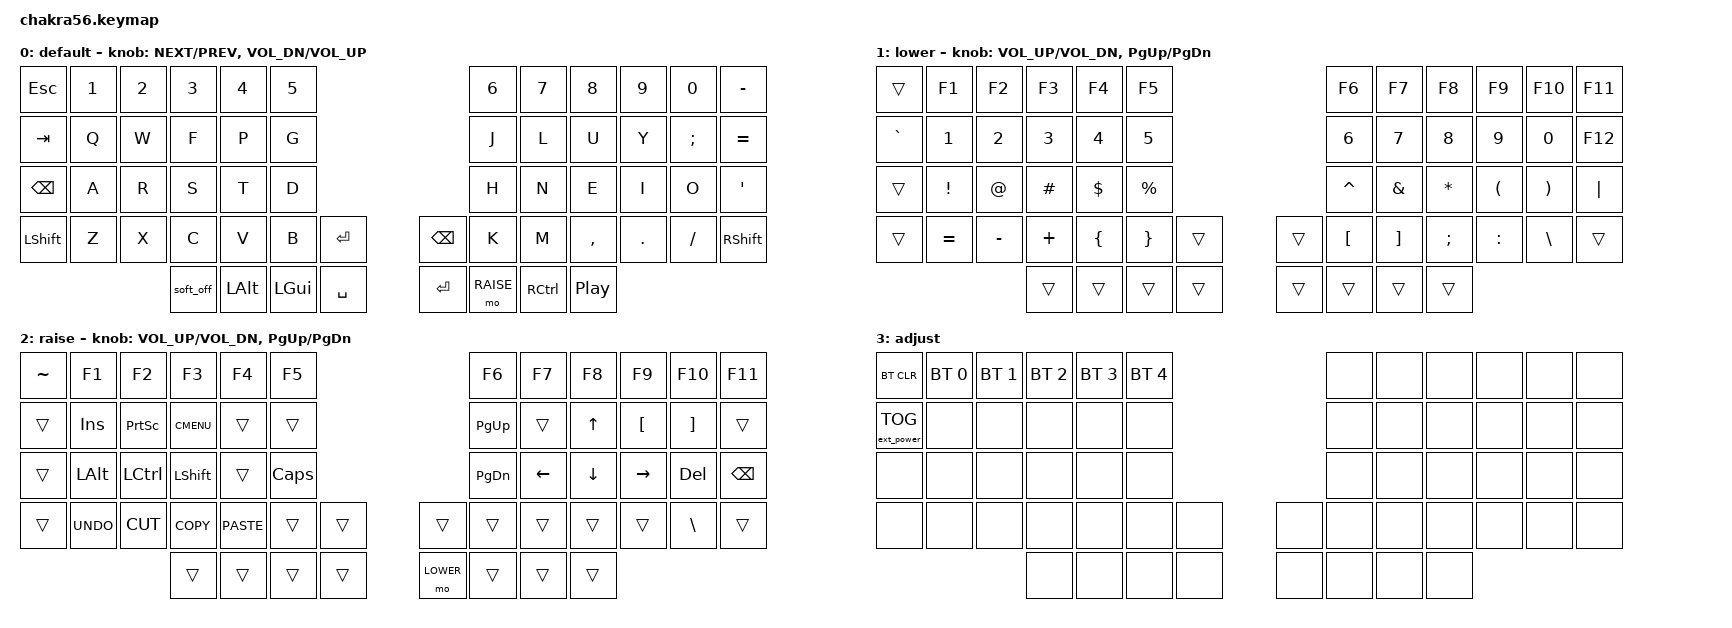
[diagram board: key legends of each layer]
/*
 * Copyright (c) 2020 The ZMK Contributors
 *
 * SPDX-License-Identifier: MIT
 */

#include <behaviors.dtsi>
#include <dt-bindings/zmk/bt.h>
#include <dt-bindings/zmk/ext_power.h>
#include <dt-bindings/zmk/keys.h>

#define BASE 0
#define LOWER 1
#define RAISE 2
#define ADJUST 3

&soft_off {
    hold-time-ms = <2000>; // Only turn off it the key is held for 2 seconds or longer.
};

/ {
    // Activate ADJUST layer by pressing raise and lower

    conditional_layers {
        compatible = "zmk,conditional-layers";

        adjust_layer {
            if-layers = <LOWER RAISE>;
            then-layer = <ADJUST>;
        };
    };

    keymap {
        compatible = "zmk,keymap";

        default_layer {
            display-name = "default";

            // ------------------------------------------------------------------------------------------------------------
            // |   `   |  1  |  2  |  3   |  4   |  5   |                   |  6   |  7    |  8    |  9   |   0   |       |
            // |  ESC  |  Q  |  W  |  E   |  R   |  T   |                   |  Y   |  U    |  I    |  O   |   P   | BKSPC |
            // |  TAB  |  A  |  S  |  D   |  F   |  G   |                   |  H   |  J    |  K    |  L   |   ;   |   '   |
            // | SHIFT |  Z  |  X  |  C   |  V   |  B   |  MUTE  |  |       |  N   |  M    |  ,    |  .   |   /   | SHIFT |
            //               | GUI | ALT  | CTRL | LOWER|  ENTER |  | SPACE | RAISE| CTRL  | ALT   | GUI  |

            bindings = <
&kp ESC    &kp N1     &kp N2    &kp N3    &kp N4     &kp N5              &kp N6     &kp N7            &kp N8  &kp N9     &kp N0    &kp MINUS
&kp TAB    &kp Q      &kp W     &kp F     &kp P      &kp G               &kp J      &kp L             &kp U   &kp Y      &kp SEMI  &kp EQUAL
&kp BSPC   &kp A      &kp R     &kp S     &kp T      &kp D               &kp H      &kp N             &kp E   &kp I      &kp O     &kp SQT
&kp LSHFT  &kp Z      &kp X     &kp C     &kp V      &kp B    &kp RET    &kp BSPC   &kp K             &kp M   &kp COMMA  &kp DOT   &kp FSLH   &kp RSHFT
           &soft_off  &kp LALT  &kp LGUI  &kp SPACE  &kp RET  &mo RAISE  &kp RCTRL  &kp C_PLAY_PAUSE
            >;

            sensor-bindings = <&inc_dec_kp C_NEXT C_PREV &inc_dec_kp C_VOL_DN C_VOL_UP>;
        };

        lower_layer {
            display-name = "lower";

            // TODO: Some binds are waiting for shifted keycode support.
            // ------------------------------------------------------------------------------------------------------------
            // |       |  F1 |  F2 |  F3  |  F4  |  F5  |                   |  F6  |  F7   |  F8   |  F9  |  F10  |  F11  |
            // |   `   |  1  |  2  |  3   |  4   |  5   |                   |  6   |  7    |  8    |  9   |   0   |  F12  |
            // |       |  !  |  @  |  #   |  $   |  %   |                   |  ^   |  &    |  *    |  (   |   )   |   |   |
            // |       |  =  |  -  |  +   |  {   |  }   |        |  |       |  [   |  ]    |  ;    |  :   |   \   |       |
            //               |     |      |      |      |        |  |       |      |       |       |      |

            bindings = <
&trans     &kp F1     &kp F2     &kp F3    &kp F4    &kp F5             &kp F6     &kp F7    &kp F8     &kp F9    &kp F10    &kp F11
&kp GRAVE  &kp N1     &kp N2     &kp N3    &kp N4    &kp N5             &kp N6     &kp N7    &kp N8     &kp N9    &kp N0     &kp F12
&trans     &kp EXCL   &kp AT     &kp HASH  &kp DLLR  &kp PRCNT          &kp CARET  &kp AMPS  &kp ASTRK  &kp LPAR  &kp RPAR   &kp PIPE
&trans     &kp EQUAL  &kp MINUS  &kp PLUS  &kp LBRC  &kp RBRC   &trans  &trans     &kp LBKT  &kp RBKT   &kp SEMI  &kp COLON  &kp BSLH  &trans
           &trans     &trans     &trans    &trans    &trans     &trans  &trans     &trans
            >;

            sensor-bindings = <&inc_dec_kp C_VOL_UP C_VOL_DN &inc_dec_kp PG_UP PG_DN>;
        };

        raise_layer {
            display-name = "raise";

            // ------------------------------------------------------------------------------------------------------------
            // | BTCLR | BT1  | BT2  |  BT3  |  BT4  |  BT5 |                |      |      |       |      |       |       |
            // |       | INS  | PSCR | GUI   |       |      |                | PGUP |      |   ^   |      |       |       |
            // |       | ALT  | CTRL | SHIFT |       | CAPS |                | PGDN |   <- |   v   |  ->  |  DEL  | BKSPC |
            // |       | UNDO | CUT  | COPY  | PASTE |      |      |  |      |      |      |       |      |       |       |
            //                |      |       |       |      |      |  |      |      |      |       |      |

            bindings = <
&kp TILDE  &kp F1      &kp F2     &kp F3       &kp F4       &kp F5             &kp F6     &kp F7    &kp F8    &kp F9     &kp F10   &kp F11
&trans     &kp INS     &kp PSCRN  &kp K_CMENU  &trans       &trans             &kp PG_UP  &trans    &kp UP    &kp LBKT   &kp RBKT  &trans
&trans     &kp LALT    &kp LCTRL  &kp LSHFT    &trans       &kp CLCK           &kp PG_DN  &kp LEFT  &kp DOWN  &kp RIGHT  &kp DEL   &kp BSPC
&trans     &kp K_UNDO  &kp K_CUT  &kp K_COPY   &kp K_PASTE  &trans     &trans  &trans     &trans    &trans    &trans     &trans    &kp BSLH  &trans
           &trans      &trans     &trans       &trans       &mo LOWER  &trans  &trans     &trans
            >;

            sensor-bindings = <&inc_dec_kp C_VOL_UP C_VOL_DN &inc_dec_kp PG_UP PG_DN>;
        };

        adjust_layer {
            // ----------------------------------------------------------------------------------------------------------------------------
            // | BTCLR  |  BT1    |  BT2    |   BT3   |   BT4   |   BT5   |                  |      |      |       |      |       |       |
            // | EXTPWR | RGB_HUD | RGB_HUI | RGB_SAD | RGB_SAI | RGB_EFF |                  |      |      |       |      |       |       |
            // |        | RGB_BRD | RGB_BRI |         |         |         |                  |      |      |       |      |       |       |
            // |        |         |         |         |         |         | RGB_TOG | |      |      |      |       |      |       |       |
            //                    |         |         |         |         |         | |      |      |      |       |      |

            display-name = "adjust";
            bindings = <
&bt BT_CLR         &bt BT_SEL 0  &bt BT_SEL 1  &bt BT_SEL 2  &bt BT_SEL 3  &bt BT_SEL 4         &none  &none  &none  &none  &none  &none
&ext_power EP_TOG  &none         &none         &none         &none         &none                &none  &none  &none  &none  &none  &none
&none              &none         &none         &none         &none         &none                &none  &none  &none  &none  &none  &none
&none              &none         &none         &none         &none         &none         &none  &none  &none  &none  &none  &none  &none  &none
                   &none         &none         &none         &none         &none         &none  &none  &none
            >;
        };
    };
};
